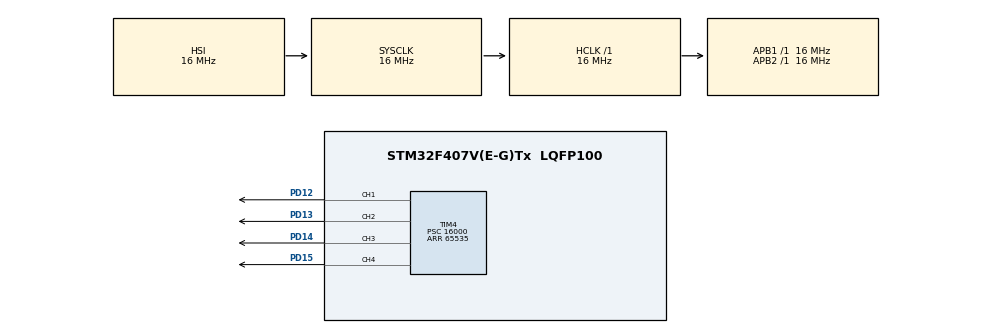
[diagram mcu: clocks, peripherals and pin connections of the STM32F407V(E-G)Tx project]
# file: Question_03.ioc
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Mcu.Family=STM32F4
Mcu.Name=STM32F407V(E-G)Tx
Mcu.Package=LQFP100
NVIC.PriorityGroup=NVIC_PRIORITYGROUP_4
NVIC.TIM4_IRQn=true\:0\:0\:false\:false\:true\:true\:true\:true
PD12.Signal=S_TIM4_CH1
PD13.Signal=S_TIM4_CH2
PD14.Signal=S_TIM4_CH3
PD15.Signal=S_TIM4_CH4
ProjectManager.HeapSize=0x200
ProjectManager.StackSize=0x400
ProjectManager.TargetToolchain=STM32CubeIDE
RCC.AHBFreq_Value=16000000
RCC.APB1Freq_Value=16000000
RCC.APB2Freq_Value=16000000
RCC.CortexFreq_Value=16000000
RCC.HSE_VALUE=25000000
RCC.HSI_VALUE=16000000
RCC.LSE_VALUE=32768
RCC.SYSCLKFreq_VALUE=16000000
RCC.VCOOutputFreq_Value=192000000
SH.S_TIM4_CH1.0=TIM4_CH1,Output Compare1 CH1
SH.S_TIM4_CH2.0=TIM4_CH2,Output Compare2 CH2
SH.S_TIM4_CH3.0=TIM4_CH3,Output Compare3 CH3
SH.S_TIM4_CH4.0=TIM4_CH4,Output Compare4 CH4
TIM4.Channel-Output\ Compare1\ CH1=TIM_CHANNEL_1
TIM4.Channel-Output\ Compare2\ CH2=TIM_CHANNEL_2
TIM4.Channel-Output\ Compare3\ CH3=TIM_CHANNEL_3
TIM4.Channel-Output\ Compare4\ CH4=TIM_CHANNEL_4
TIM4.OCMode_1=TIM_OCMODE_TOGGLE
TIM4.OCMode_2=TIM_OCMODE_TOGGLE
TIM4.OCMode_3=TIM_OCMODE_TOGGLE
TIM4.OCMode_4=TIM_OCMODE_TOGGLE
TIM4.Period=65535
TIM4.Prescaler=16000
TIM4.TIM_MasterOutputTrigger=TIM_TRGO_RESET
VP_TIM4_VS_ClockSourceINT.Mode=Internal
board=custom

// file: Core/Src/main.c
/* USER CODE BEGIN Header */
/**
  ******************************************************************************
  * @file           : main.c
  * @brief          : Main program body
  ******************************************************************************
  * @attention
  *
  * Copyright (c) 2026 STMicroelectronics.
  * All rights reserved.
  *
  * This software is licensed under terms that can be found in the LICENSE file
  * in the root directory of this software component.
  * If no LICENSE file comes with this software, it is provided AS-IS.
  *
  ******************************************************************************
  */
/* USER CODE END Header */
#include "main.h"

TIM_HandleTypeDef htim4;

/* USER CODE BEGIN PV */
uint16_t ccr_count1 = 0;
uint16_t ccr_count2 = 0;
uint16_t ccr_count3 = 0;
uint16_t ccr_count4 = 0;

/* USER CODE END PV */

void SystemClock_Config(void);
static void MX_GPIO_Init(void);
static void MX_TIM4_Init(void);

int main(void)
{

  /* MCU Configuration--------------------------------------------------------*/

  /* Reset of all peripherals, Initializes the Flash interface and the Systick. */
  HAL_Init();

  /* Configure the system clock */
  SystemClock_Config();

  /* Initialize all configured peripherals */
  MX_GPIO_Init();
  MX_TIM4_Init();
  /* USER CODE BEGIN 2 */

  HAL_TIM_OC_Start_IT(&htim4, TIM_CHANNEL_1);
  HAL_TIM_OC_Start_IT(&htim4, TIM_CHANNEL_2);
  HAL_TIM_OC_Start_IT(&htim4, TIM_CHANNEL_3);
  HAL_TIM_OC_Start_IT(&htim4, TIM_CHANNEL_4);

  /* USER CODE END 2 */

  /* Infinite loop */
  while (1)
  {

  }
}

void SystemClock_Config(void)
{
  RCC_OscInitTypeDef RCC_OscInitStruct = {0};
  RCC_ClkInitTypeDef RCC_ClkInitStruct = {0};

  /** Configure the main internal regulator output voltage
  */
  __HAL_RCC_PWR_CLK_ENABLE();
  __HAL_PWR_VOLTAGESCALING_CONFIG(PWR_REGULATOR_VOLTAGE_SCALE1);

  /** Initializes the RCC Oscillators according to the specified parameters
  * in the RCC_OscInitTypeDef structure.
  */
  RCC_OscInitStruct.OscillatorType = RCC_OSCILLATORTYPE_HSI;
  RCC_OscInitStruct.HSIState = RCC_HSI_ON;
  RCC_OscInitStruct.HSICalibrationValue = RCC_HSICALIBRATION_DEFAULT;
  RCC_OscInitStruct.PLL.PLLState = RCC_PLL_NONE;
  if (HAL_RCC_OscConfig(&RCC_OscInitStruct) != HAL_OK)
  {
    Error_Handler();
  }

  /** Initializes the CPU, AHB and APB buses clocks
  */
  RCC_ClkInitStruct.ClockType = RCC_CLOCKTYPE_HCLK|RCC_CLOCKTYPE_SYSCLK
                              |RCC_CLOCKTYPE_PCLK1|RCC_CLOCKTYPE_PCLK2;
  RCC_ClkInitStruct.SYSCLKSource = RCC_SYSCLKSOURCE_HSI;
  RCC_ClkInitStruct.AHBCLKDivider = RCC_SYSCLK_DIV1;
  RCC_ClkInitStruct.APB1CLKDivider = RCC_HCLK_DIV1;
  RCC_ClkInitStruct.APB2CLKDivider = RCC_HCLK_DIV1;

  if (HAL_RCC_ClockConfig(&RCC_ClkInitStruct, FLASH_LATENCY_0) != HAL_OK)
  {
    Error_Handler();
  }
}

static void MX_TIM4_Init(void)
{

  TIM_ClockConfigTypeDef sClockSourceConfig = {0};
  TIM_MasterConfigTypeDef sMasterConfig = {0};
  TIM_OC_InitTypeDef sConfigOC = {0};

  htim4.Instance = TIM4;
  htim4.Init.Prescaler = 16000;
  htim4.Init.CounterMode = TIM_COUNTERMODE_UP;
  htim4.Init.Period = 65535;
  htim4.Init.ClockDivision = TIM_CLOCKDIVISION_DIV1;
  htim4.Init.AutoReloadPreload = TIM_AUTORELOAD_PRELOAD_DISABLE;
  if (HAL_TIM_Base_Init(&htim4) != HAL_OK)
  {
    Error_Handler();
  }
  sClockSourceConfig.ClockSource = TIM_CLOCKSOURCE_INTERNAL;
  if (HAL_TIM_ConfigClockSource(&htim4, &sClockSourceConfig) != HAL_OK)
  {
    Error_Handler();
  }
  if (HAL_TIM_OC_Init(&htim4) != HAL_OK)
  {
    Error_Handler();
  }
  sMasterConfig.MasterOutputTrigger = TIM_TRGO_RESET;
  sMasterConfig.MasterSlaveMode = TIM_MASTERSLAVEMODE_DISABLE;
  if (HAL_TIMEx_MasterConfigSynchronization(&htim4, &sMasterConfig) != HAL_OK)
  {
    Error_Handler();
  }
  sConfigOC.OCMode = TIM_OCMODE_TOGGLE;
  sConfigOC.Pulse = 0;
  sConfigOC.OCPolarity = TIM_OCPOLARITY_HIGH;
  sConfigOC.OCFastMode = TIM_OCFAST_DISABLE;
  if (HAL_TIM_OC_ConfigChannel(&htim4, &sConfigOC, TIM_CHANNEL_1) != HAL_OK)
  {
    Error_Handler();
  }
  if (HAL_TIM_OC_ConfigChannel(&htim4, &sConfigOC, TIM_CHANNEL_2) != HAL_OK)
  {
    Error_Handler();
  }
  if (HAL_TIM_OC_ConfigChannel(&htim4, &sConfigOC, TIM_CHANNEL_3) != HAL_OK)
  {
    Error_Handler();
  }
  if (HAL_TIM_OC_ConfigChannel(&htim4, &sConfigOC, TIM_CHANNEL_4) != HAL_OK)
  {
    Error_Handler();
  }
  HAL_TIM_MspPostInit(&htim4);

}

static void MX_GPIO_Init(void)
{

  /* GPIO Ports Clock Enable */
  __HAL_RCC_GPIOD_CLK_ENABLE();

}

/* USER CODE BEGIN 4 */
void HAL_TIM_OC_DelayElapsedCallback(TIM_HandleTypeDef *htim)
{
	if(htim->Instance == TIM4)
	{
		if(htim->Channel == HAL_TIM_ACTIVE_CHANNEL_1)
		{
			htim->Instance->CCR1 = (200 + 200*ccr_count1)&0xffff;
			ccr_count1++;
		}
		else if(htim->Channel == HAL_TIM_ACTIVE_CHANNEL_2)
		{
			htim->Instance->CCR2 = (400 + 400*ccr_count2)&0xffff;
			ccr_count2++;
		}
		else if(htim->Channel == HAL_TIM_ACTIVE_CHANNEL_3)
		{
			htim->Instance->CCR3 = (600 + 600*ccr_count3)&0xffff;
			ccr_count3++;
		}
		else if(htim->Channel == HAL_TIM_ACTIVE_CHANNEL_4)
		{
			htim->Instance->CCR4 = (800 + 400*ccr_count4)&0xffff;
			ccr_count4++;
		}
	}
}

/* USER CODE END 4 */

void Error_Handler(void)
{
  __disable_irq();
  while (1)
  {
  }
}
